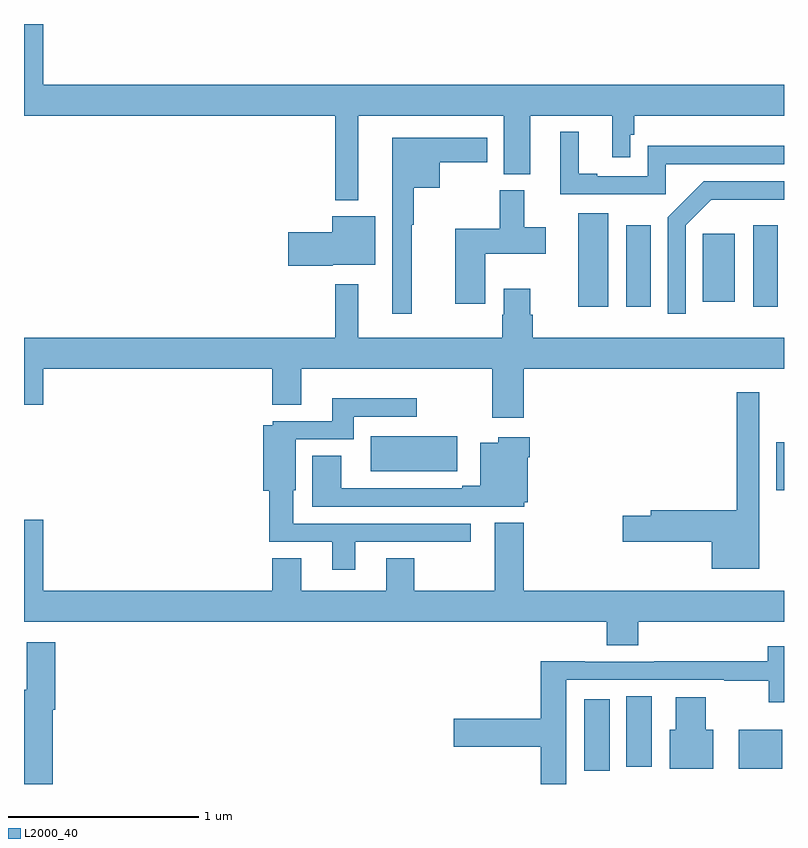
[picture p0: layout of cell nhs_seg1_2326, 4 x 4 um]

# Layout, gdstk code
import gdstk
lib = gdstk.Library(unit=1e-6, precision=1e-09)
def R(c, l, rs):  # rectangles x0, y0, x1, y1
    for r in rs: c.add(gdstk.rectangle(r[:2], r[2:], *l))
def P(c, l, *ps):  # polygons
    for p in ps: c.add(gdstk.Polygon(p, *l))
L2000_40 = (2000, 40)

nhs_seg1_2326 = lib.new_cell('nhs_seg1_2326')
R(nhs_seg1_2326, L2000_40, [(239.948,564.27,240.082,564.646), (240.761,564.278,240.991,564.484), (240.17,564.291,240.304,564.662), (240.959,565.745,241,565.999), (239.918,566.712,240.076,567.202), (240.17,566.712,240.298,567.139), (240.839,566.712,240.967,567.139), (240.572,566.738,240.742,567.094)])
P(nhs_seg1_2326, L2000_40, [(238.759,567.716),(239.525,567.716),(239.525,567.409),(239.665,567.409),(239.665,567.716),(240.095,567.716),(240.095,567.498),(240.192,567.498),(240.192,567.615),(240.212,567.615),(240.212,567.716),(241,567.716),(241,567.88),(237.1,567.88),(237.1,568.199),(237,568.199),(237,567.716),(238.638,567.716),(238.638,567.272),(238.759,567.272)],
  [(240.378,567.462),(241,567.462),(241,567.559),(240.282,567.559),(240.282,567.399),(240.016,567.399),(240.016,567.412),(239.92,567.412),(239.92,567.631),(239.822,567.631),(239.822,567.303),(240.174,567.303),(240.174,567.302),(240.378,567.302)],
  [(239.041,567.142),(239.051,567.142),(239.051,567.338),(239.188,567.338),(239.188,567.472),(239.437,567.472),(239.437,567.601),(238.937,567.601),(238.937,566.673),(239.041,566.673)],
  [(240.483,567.141),(240.617,567.275),(241,567.275),(241,567.372),(240.578,567.372),(240.482,567.277),(240.387,567.183),(240.387,566.673),(240.483,566.673)],
  [(239.428,566.99),(239.746,566.99),(239.746,567.13),(239.632,567.13),(239.632,567.324),(239.503,567.324),(239.503,567.121),(239.27,567.121),(239.27,566.727),(239.428,566.727)],
  [(238.626,566.933),(238.849,566.933),(238.849,567.187),(238.622,567.187),(238.622,567.104),(238.392,567.104),(238.392,566.926),(238.626,566.926)],
  [(239.465,566.127),(239.63,566.127),(239.63,566.384),(241,566.384),(241,566.548),(239.678,566.548),(239.678,566.669),(239.665,566.669),(239.665,566.806),(239.525,566.806),(239.525,566.669),(239.518,566.669),(239.518,566.548),(238.759,566.548),(238.759,566.83),(238.638,566.83),(238.638,566.548),(237,566.548),(237,566.196),(237.1,566.196),(237.1,566.384),(238.307,566.384),(238.307,566.194),(238.459,566.194),(238.459,566.384),(239.465,566.384)],
  [(240.871,566.26),(240.75,566.26),(240.75,565.64),(240.299,565.64),(240.299,565.61),(240.15,565.61),(240.15,565.475),(240.62,565.475),(240.62,565.331),(240.871,565.331)],
  [(238.744,565.473),(239.35,565.473),(239.35,565.569),(238.417,565.569),(238.417,565.746),(238.429,565.746),(238.429,566.013),(238.735,566.013),(238.735,566.133),(239.068,566.133),(239.068,566.23),(238.622,566.23),(238.622,566.109),(238.308,566.109),(238.308,566.086),(238.259,566.086),(238.259,565.742),(238.292,565.742),(238.292,565.473),(238.622,565.473),(238.622,565.326),(238.744,565.326)],
  [(239.177,565.845),(239.28,565.845),(239.28,566.029),(238.826,566.029),(238.826,565.844),(239.177,565.844)],
  [(239.634,565.683),(239.65,565.683),(239.65,565.919),(239.663,565.919),(239.663,566.023),(239.496,566.023),(239.496,565.996),(239.402,565.996),(239.402,565.769),(239.306,565.769),(239.306,565.755),(238.669,565.755),(238.669,565.927),(238.517,565.927),(238.517,565.659),(239.634,565.659)],
  [(240.233,565.052),(241,565.052),(241,565.216),(239.63,565.216),(239.63,565.573),(239.477,565.573),(239.477,565.216),(239.055,565.216),(239.055,565.388),(238.907,565.388),(238.907,565.216),(238.459,565.216),(238.459,565.388),(238.307,565.388),(238.307,565.216),(237.1,565.216),(237.1,565.591),(237,565.591),(237,565.052),(240.068,565.052),(240.068,564.928),(240.233,564.928)],
  [(237.151,564.59),(237.164,564.59),(237.164,564.946),(237.014,564.946),(237.014,564.694),(237,564.694),(237,564.199),(237.151,564.199)],
  [(239.854,564.747),(240.685,564.747),(240.685,564.742),(240.919,564.742),(240.919,564.63),(241,564.63),(241,564.925),(240.914,564.925),(240.914,564.845),(240.316,564.845),(240.316,564.843),(239.95,564.843),(239.95,564.845),(239.72,564.845),(239.72,564.542),(239.262,564.542),(239.262,564.395),(239.72,564.395),(239.72,564.199),(239.854,564.199)],
  [(240.628,564.484),(240.589,564.484),(240.589,564.655),(240.431,564.655),(240.431,564.484),(240.398,564.484),(240.398,564.278),(240.628,564.278)])

lib.write_gds('nhs_seg1_2326.gds')
